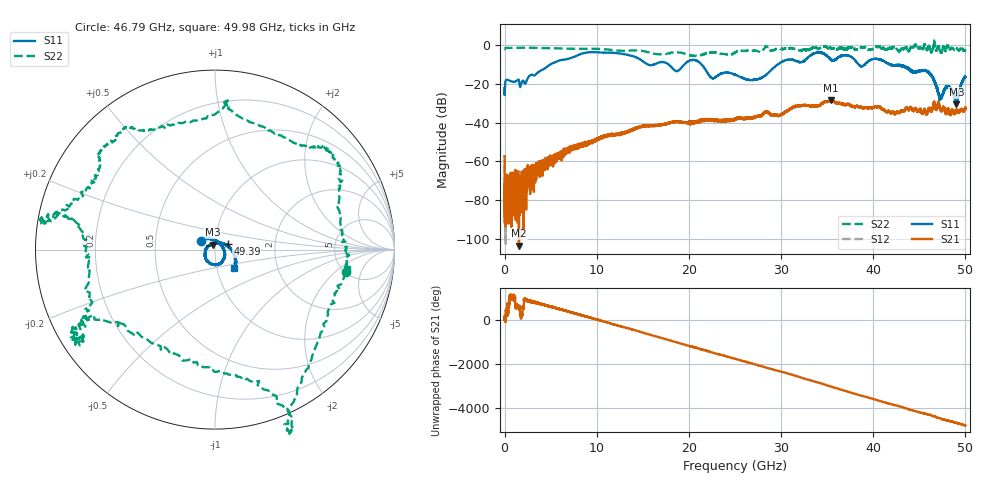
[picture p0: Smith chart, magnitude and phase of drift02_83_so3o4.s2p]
!Created with skrf (http://scikit-rf.org).
# Hz S RI R 50.0
!freq ReS11 ImS11 ReS21 ImS21 ReS12 ImS12 ReS22 ImS22
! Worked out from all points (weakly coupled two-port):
!   10001 points, 300 kHz to 50 GHz, reference 50 ohm
!   highest |S21| = -28.54 dB at 35.41 GHz (marker M1); lowest = -103.6 dB at 1.56 GHz (marker M2)
!   lowest |S11| = -30.6 dB at 49.02 GHz (marker M3), VSWR 1.06, Z = 48.8 + j2.65 ohm
!   |S11| at or under -10 dB: start of sweep to 4.954 GHz; 21.38 GHz to 29.63 GHz (8.246 GHz wide, 32.3 % of centre); 41.84 GHz to end of sweep (the widest 3 of 9)
!   |S22| runs from -5.7 to 2.4 dB; largest |S21 - S12| = 0.0034
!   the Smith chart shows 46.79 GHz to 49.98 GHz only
!   S11 on the Smith chart (normalised r, x): 46.79 GHz: 0.85, +0.08; 49.39 GHz: 1.15, +0.07; 49.98 GHz: 1.20, -0.26
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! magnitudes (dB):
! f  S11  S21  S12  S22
! 300 kHz  -22.2  -57.3  -61.9  -2.1
! 255.3 MHz  -17.9  -71.4  -79.2  -1.4
! 1.56 GHz  -18.3  -103.6  -75.5  -1.4
! 3.675 GHz  -13.9  -63.4  -62.2  -1.5
! 8.335 GHz  -4.5  -51.5  -50.9  -1.9
! 16.67 GHz  -9.1  -41.4  -41.5  -4.7
! 18.7 GHz  -13.5  -39.4  -39.6  -3.7
! 20.6 GHz  -7.7  -39.4  -39.9  -5.7
! 22.51 GHz  -17.1  -38.5  -38.7  -3.7
! 25 GHz  -15.3  -38.6  -38.2  -3.9
! 27.47 GHz  -17.6  -36.4  -36.7  -3.2
! 33.34 GHz  -4.9  -31.3  -31.3  -1.6
! 35.41 GHz  -7.5  -28.5  -28.8  -1.6
! 41.67 GHz  -9.6  -34.2  -34.3  -1.8
! 45.79 GHz  -13.6  -35.3  -35.6  -2.3
! 46.79 GHz  -20.7  -33.3  -33.2  -2.6
! 47.28 GHz  -27.4  -33.1  -32.9  -3.2
! 48.14 GHz  -21.5  -33.4  -33.4  -0.8
! 49.02 GHz  -30.6  -33.6  -34.0  -2.0
! 49.39 GHz  -22.4  -34.2  -34.1  -2.5
! 49.98 GHz  -16.6  -32.8  -32.4  -2.6
! 50 GHz  -16.5  -32.8  -32.5  -2.7
